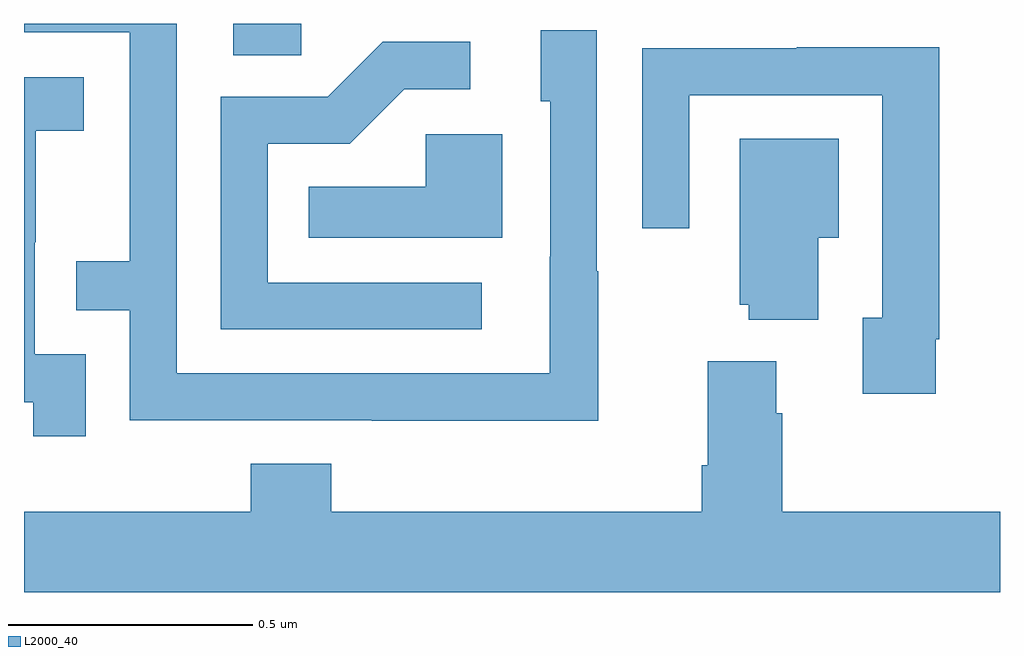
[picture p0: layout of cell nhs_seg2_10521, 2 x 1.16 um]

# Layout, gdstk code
import gdstk
lib = gdstk.Library(unit=1e-6, precision=1e-09)
def R(c, l, rs):  # rectangles x0, y0, x1, y1
    for r in rs: c.add(gdstk.rectangle(r[:2], r[2:], *l))
def P(c, l, *ps):  # polygons
    for p in ps: c.add(gdstk.Polygon(p, *l))
L2000_40 = (2000, 40)

nhs_seg2_10521 = lib.new_cell('nhs_seg2_10521')
R(nhs_seg2_10521, L2000_40, [(242.429,648.736,242.568,648.8)])
P(nhs_seg2_10521, L2000_40, [(243.177,648.293),(243.174,648.293),(243.174,648.787),(243.059,648.787),(243.059,648.642),(243.078,648.642),(243.078,648.323),(243.077,648.323),(243.077,648.084),(242.313,648.084),(242.313,648.8),(242,648.8),(242,648.783),(242.217,648.783),(242.217,648.314),(242.107,648.314),(242.107,648.213),(242.217,648.213),(242.217,647.988),(242.713,647.988),(242.713,647.987),(243.177,647.987)],
  [(242.938,648.27),(242.499,648.27),(242.499,648.555),(242.668,648.555),(242.779,648.666),(242.914,648.666),(242.914,648.764),(242.735,648.764),(242.622,648.651),(242.403,648.651),(242.403,648.174),(242.938,648.174)],
  [(243.868,648.154),(243.875,648.154),(243.875,648.752),(243.583,648.752),(243.583,648.75),(243.267,648.75),(243.267,648.381),(243.363,648.381),(243.363,648.654),(243.759,648.654),(243.759,648.198),(243.719,648.198),(243.719,648.042),(243.868,648.042)],
  [(242.127,648.123),(242.022,648.123),(242.022,648.353),(242.024,648.353),(242.024,648.581),(242.122,648.581),(242.122,648.691),(242,648.691),(242,648.025),(242.019,648.025),(242.019,647.955),(242.127,647.955)],
  [(242.98,648.574),(242.823,648.574),(242.823,648.466),(242.584,648.466),(242.584,648.362),(242.98,648.362)],
  [(243.628,648.362),(243.67,648.362),(243.67,648.565),(243.467,648.565),(243.467,648.225),(243.485,648.225),(243.485,648.194),(243.628,648.194)],
  [(244,647.8),(243.554,647.8),(243.554,648.002),(243.541,648.002),(243.541,648.109),(243.401,648.109),(243.401,647.896),(243.389,647.896),(243.389,647.8),(242.63,647.8),(242.63,647.899),(242.465,647.899),(242.465,647.8),(242,647.8),(242,647.636),(244,647.636)])

lib.write_gds('nhs_seg2_10521.gds')
